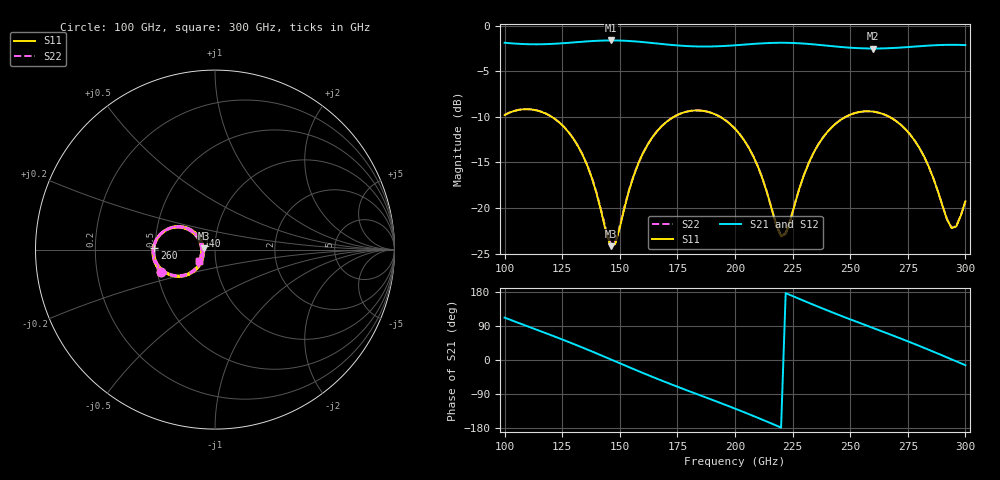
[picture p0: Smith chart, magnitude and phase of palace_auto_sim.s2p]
#  GHZ S DB R 50
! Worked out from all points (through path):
!   101 points, 100 GHz to 300 GHz, reference 50 ohm
!   highest |S21| = -1.60 dB at 146 GHz (marker M1); lowest = -2.5 dB at 260 GHz (marker M2)
!   group delay of S21, straight-line fit = 6.75 ps
!   lowest |S11| = -24.2 dB at 146 GHz (marker M3), VSWR 1.13, Z = 44.2 + j0.615 ohm
!   |S11| at or under -10 dB: 120.5 GHz to 173.4 GHz (52.86 GHz wide, 36 % of centre); 193.6 GHz to 247.9 GHz (54.31 GHz wide, 24.6 % of centre); 267 GHz to end of sweep
!   |S22| runs from -23.9 to -9.1 dB; largest |S21 - S12| = 1.4e-13
!   S11 on the Smith chart (normalised r, x): 100 GHz: 0.53, -0.15; 140 GHz: 0.82, +0.13; 260 GHz: 0.49, +0.01; 300 GHz: 0.83, -0.11
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100  -9.78 -157.0  -1.85 111.9  -1.85 111.9  -9.77 -157.1
108  -9.16 -172.7  -1.99 93.4  -1.99 93.4  -9.15 -172.7
118  -9.64 168.0  -2.00 70.5  -2.00 70.5  -9.63 168.1
134  -14.24 141.1  -1.73 32.3  -1.73 32.3  -14.21 141.6
140  -18.48 139.6  -1.64 17.2  -1.64 17.2  -18.39 140.4
146  -24.19 173.6  -1.60 1.8  -1.60 1.8  -23.85 173.8
148  -23.96 -162.7  -1.60 -3.4  -1.60 -3.4  -23.65 -163.5
158  -15.14 -133.6  -1.73 -29.1  -1.73 -29.1  -15.10 -134.4
168  -11.06 -148.1  -1.98 -53.9  -1.98 -53.9  -11.05 -148.6
184  -9.28 -177.8  -2.26 -91.2  -2.26 -91.2  -9.28 -178.1
200  -11.29 153.5  -2.13 -128.3  -2.13 -128.3  -11.28 153.3
210  -15.48 141.2  -1.94 -152.8  -1.94 -152.8  -15.46 141.2
220  -23.12 175.9  -1.85 -178.3  -1.85 -178.3  -23.02 175.7
222  -22.84 -164.3  -1.85 176.5  -1.85 176.5  -22.76 -164.7
234  -13.99 -138.4  -2.03 145.9  -2.03 145.9  -13.98 -138.8
246  -10.30 -156.6  -2.31 116.7  -2.31 116.7  -10.29 -157.0
260  -9.41 178.2  -2.48 84.3  -2.48 84.3  -9.41 177.9
268  -10.13 164.1  -2.43 65.9  -2.43 65.9  -10.13 163.8
282  -14.32 144.2  -2.20 32.2  -2.20 32.2  -14.31 144.0
294  -22.20 175.8  -2.08 1.7  -2.08 1.7  -22.16 175.5
296  -22.03 -167.1  -2.08 -3.4  -2.08 -3.4  -22.00 -167.5
300  -19.27 -144.9  -2.11 -13.7  -2.11 -13.7  -19.25 -145.4
